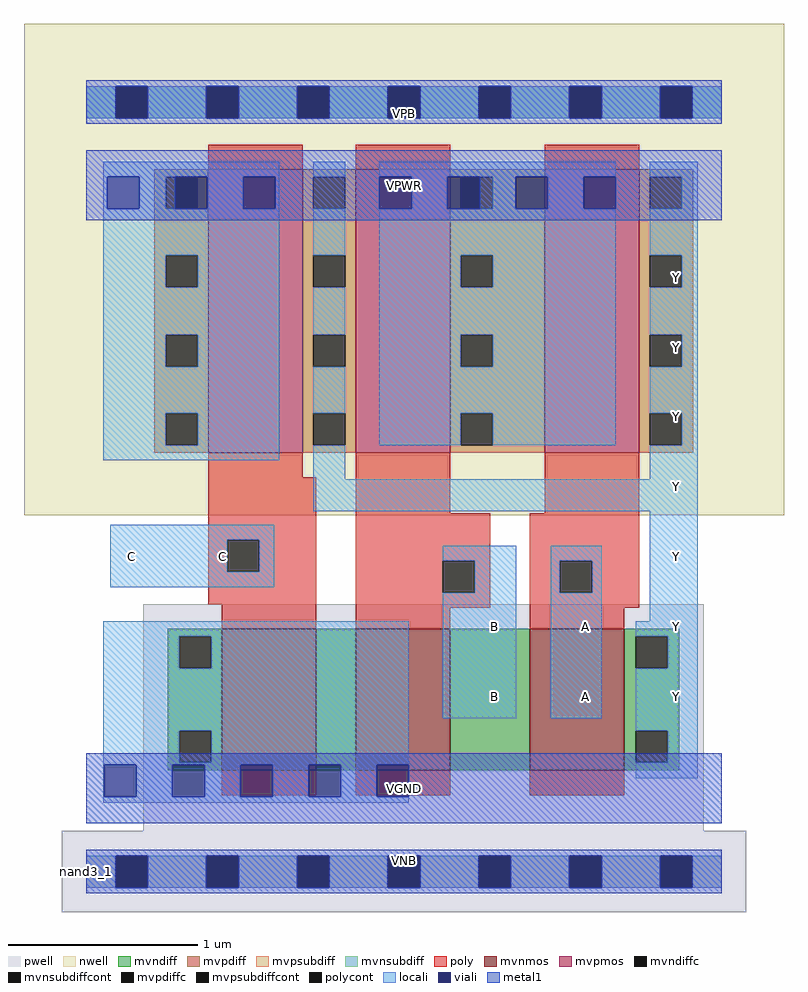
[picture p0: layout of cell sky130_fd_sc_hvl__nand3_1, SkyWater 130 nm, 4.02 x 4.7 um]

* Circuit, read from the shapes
.subckt sky130_fd_sc_hvl__nand3_1 A B C VGND VNB VPB VPWR Y
XM1 n1 C VGND VNB sky130_fd_pr__nfet_g5v0d10v5 w=0.75 l=0.5
XM2 n2 B n1 VNB sky130_fd_pr__nfet_g5v0d10v5 w=0.75 l=0.5
XM3 Y A n2 VNB sky130_fd_pr__nfet_g5v0d10v5 w=0.75 l=0.5
XM4 Y C VPWR VPB sky130_fd_pr__pfet_g5v0d10v5 w=1.5 l=0.5
XM5 VPWR B Y VPB sky130_fd_pr__pfet_g5v0d10v5 w=1.5 l=0.5
XM6 Y A VPWR VPB sky130_fd_pr__pfet_g5v0d10v5 w=1.5 l=0.5
.ends

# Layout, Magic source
magic
tech sky130A
magscale 1 2
<< nwell >>
rect -66 377 738 897
<< pwell >>
rect 60 43 653 283
rect -26 -43 698 43
<< mvnmos >>
rect 143 107 243 257
rect 285 107 385 257
rect 469 107 569 257
<< mvpmos >>
rect 129 443 229 743
rect 285 443 385 743
rect 485 443 585 743
<< mvndiff >>
rect 86 249 143 257
rect 86 215 98 249
rect 132 215 143 249
rect 86 149 143 215
rect 86 115 98 149
rect 132 115 143 149
rect 86 107 143 115
rect 243 107 285 257
rect 385 107 469 257
rect 569 249 627 257
rect 569 215 581 249
rect 615 215 627 249
rect 569 149 627 215
rect 569 115 581 149
rect 615 115 627 149
rect 569 107 627 115
<< mvpdiff >>
rect 72 735 129 743
rect 72 701 84 735
rect 118 701 129 735
rect 72 652 129 701
rect 72 618 84 652
rect 118 618 129 652
rect 72 568 129 618
rect 72 534 84 568
rect 118 534 129 568
rect 72 485 129 534
rect 72 451 84 485
rect 118 451 129 485
rect 72 443 129 451
rect 229 735 285 743
rect 229 701 240 735
rect 274 701 285 735
rect 229 652 285 701
rect 229 618 240 652
rect 274 618 285 652
rect 229 568 285 618
rect 229 534 240 568
rect 274 534 285 568
rect 229 485 285 534
rect 229 451 240 485
rect 274 451 285 485
rect 229 443 285 451
rect 385 735 485 743
rect 385 701 396 735
rect 430 701 485 735
rect 385 652 485 701
rect 385 618 396 652
rect 430 618 485 652
rect 385 568 485 618
rect 385 534 396 568
rect 430 534 485 568
rect 385 485 485 534
rect 385 451 396 485
rect 430 451 485 485
rect 385 443 485 451
rect 585 735 642 743
rect 585 701 596 735
rect 630 701 642 735
rect 585 652 642 701
rect 585 618 596 652
rect 630 618 642 652
rect 585 568 642 618
rect 585 534 596 568
rect 630 534 642 568
rect 585 485 642 534
rect 585 451 596 485
rect 630 451 642 485
rect 585 443 642 451
<< mvndiffc >>
rect 98 215 132 249
rect 98 115 132 149
rect 581 215 615 249
rect 581 115 615 149
<< mvpdiffc >>
rect 84 701 118 735
rect 84 618 118 652
rect 84 534 118 568
rect 84 451 118 485
rect 240 701 274 735
rect 240 618 274 652
rect 240 534 274 568
rect 240 451 274 485
rect 396 701 430 735
rect 396 618 430 652
rect 396 534 430 568
rect 396 451 430 485
rect 596 701 630 735
rect 596 618 630 652
rect 596 534 630 568
rect 596 451 630 485
<< mvpsubdiff >>
rect 0 -17 31 17
rect 65 -17 127 17
rect 161 -17 223 17
rect 257 -17 319 17
rect 353 -17 415 17
rect 449 -17 511 17
rect 545 -17 607 17
rect 641 -17 672 17
<< mvnsubdiff >>
rect 0 797 31 831
rect 65 797 127 831
rect 161 797 223 831
rect 257 797 319 831
rect 353 797 415 831
rect 449 797 511 831
rect 545 797 607 831
rect 641 797 672 831
<< mvpsubdiffcont >>
rect 31 -17 65 17
rect 127 -17 161 17
rect 223 -17 257 17
rect 319 -17 353 17
rect 415 -17 449 17
rect 511 -17 545 17
rect 607 -17 641 17
<< mvnsubdiffcont >>
rect 31 797 65 831
rect 127 797 161 831
rect 223 797 257 831
rect 319 797 353 831
rect 415 797 449 831
rect 511 797 545 831
rect 607 797 641 831
<< poly >>
rect 129 743 229 769
rect 285 743 385 769
rect 485 743 585 769
rect 129 417 229 443
rect 129 351 243 417
rect 129 317 149 351
rect 183 317 243 351
rect 129 283 243 317
rect 143 257 243 283
rect 285 379 385 443
rect 485 379 585 443
rect 285 329 427 379
rect 285 295 377 329
rect 411 295 427 329
rect 285 279 427 295
rect 469 329 585 379
rect 469 295 501 329
rect 535 295 585 329
rect 469 279 585 295
rect 285 257 385 279
rect 469 257 569 279
rect 143 81 243 107
rect 285 81 385 107
rect 469 81 569 107
<< polycont >>
rect 149 317 183 351
rect 377 295 411 329
rect 501 295 535 329
<< locali >>
rect 0 797 31 831
rect 65 797 127 831
rect 161 797 223 831
rect 257 797 319 831
rect 353 797 415 831
rect 449 797 511 831
rect 545 797 607 831
rect 641 797 672 831
rect 18 735 204 751
rect 18 701 22 735
rect 56 701 84 735
rect 128 701 166 735
rect 200 701 204 735
rect 18 652 204 701
rect 18 618 84 652
rect 118 618 204 652
rect 18 568 204 618
rect 18 534 84 568
rect 118 534 204 568
rect 18 485 204 534
rect 18 451 84 485
rect 118 451 204 485
rect 18 435 204 451
rect 240 735 274 751
rect 240 652 274 701
rect 240 568 274 618
rect 240 485 274 534
rect 310 735 560 751
rect 344 701 382 735
rect 430 701 454 735
rect 488 701 526 735
rect 310 652 560 701
rect 310 618 396 652
rect 430 618 560 652
rect 310 568 560 618
rect 310 534 396 568
rect 430 534 560 568
rect 310 485 560 534
rect 310 451 396 485
rect 430 451 560 485
rect 596 735 647 751
rect 630 701 647 735
rect 596 652 647 701
rect 630 618 647 652
rect 596 568 647 618
rect 630 534 647 568
rect 596 485 647 534
rect 630 451 647 485
rect 240 415 274 451
rect 596 415 647 451
rect 240 381 647 415
rect 25 351 199 367
rect 25 317 149 351
rect 183 317 199 351
rect 25 301 199 317
rect 377 329 455 345
rect 411 295 455 329
rect 18 249 341 265
rect 18 215 98 249
rect 132 215 341 249
rect 18 149 341 215
rect 377 162 455 295
rect 491 329 545 345
rect 491 295 501 329
rect 535 295 545 329
rect 491 162 545 295
rect 596 265 647 381
rect 581 249 647 265
rect 615 215 647 249
rect 18 115 98 149
rect 132 115 341 149
rect 18 113 341 115
rect 18 79 19 113
rect 53 79 91 113
rect 125 79 163 113
rect 197 79 235 113
rect 269 79 307 113
rect 581 149 647 215
rect 615 115 647 149
rect 581 99 647 115
rect 18 73 341 79
rect 0 -17 31 17
rect 65 -17 127 17
rect 161 -17 223 17
rect 257 -17 319 17
rect 353 -17 415 17
rect 449 -17 511 17
rect 545 -17 607 17
rect 641 -17 672 17
<< viali >>
rect 31 797 65 831
rect 127 797 161 831
rect 223 797 257 831
rect 319 797 353 831
rect 415 797 449 831
rect 511 797 545 831
rect 607 797 641 831
rect 22 701 56 735
rect 94 701 118 735
rect 118 701 128 735
rect 166 701 200 735
rect 310 701 344 735
rect 382 701 396 735
rect 396 701 416 735
rect 454 701 488 735
rect 526 701 560 735
rect 19 79 53 113
rect 91 79 125 113
rect 163 79 197 113
rect 235 79 269 113
rect 307 79 341 113
rect 31 -17 65 17
rect 127 -17 161 17
rect 223 -17 257 17
rect 319 -17 353 17
rect 415 -17 449 17
rect 511 -17 545 17
rect 607 -17 641 17
<< metal1 >>
rect 0 831 672 837
rect 0 797 31 831
rect 65 797 127 831
rect 161 797 223 831
rect 257 797 319 831
rect 353 797 415 831
rect 449 797 511 831
rect 545 797 607 831
rect 641 797 672 831
rect 0 791 672 797
rect 0 735 672 763
rect 0 701 22 735
rect 56 701 94 735
rect 128 701 166 735
rect 200 701 310 735
rect 344 701 382 735
rect 416 701 454 735
rect 488 701 526 735
rect 560 701 672 735
rect 0 689 672 701
rect 0 113 672 125
rect 0 79 19 113
rect 53 79 91 113
rect 125 79 163 113
rect 197 79 235 113
rect 269 79 307 113
rect 341 79 672 113
rect 0 51 672 79
rect 0 17 672 23
rect 0 -17 31 17
rect 65 -17 127 17
rect 161 -17 223 17
rect 257 -17 319 17
rect 353 -17 415 17
rect 449 -17 511 17
rect 545 -17 607 17
rect 641 -17 672 17
rect 0 -23 672 -17
<< labels >>
rlabel comment s 0 0 0 0 4 nand3_1
flabel metal1 s 0 51 672 125 0 FreeSans 340 0 0 0 VGND
port 4 nsew ground bidirectional
flabel metal1 s 0 0 672 23 0 FreeSans 340 0 0 0 VNB
port 5 nsew ground bidirectional
flabel metal1 s 0 689 672 763 0 FreeSans 340 0 0 0 VPWR
port 7 nsew power bidirectional
flabel metal1 s 0 791 672 814 0 FreeSans 340 0 0 0 VPB
port 6 nsew power bidirectional
flabel locali s 511 168 545 202 0 FreeSans 340 0 0 0 A
port 1 nsew signal input
flabel locali s 511 242 545 276 0 FreeSans 340 0 0 0 A
port 1 nsew signal input
flabel locali s 415 168 449 202 0 FreeSans 340 0 0 0 B
port 2 nsew signal input
flabel locali s 415 242 449 276 0 FreeSans 340 0 0 0 B
port 2 nsew signal input
flabel locali s 31 316 65 350 0 FreeSans 340 0 0 0 C
port 3 nsew signal input
flabel locali s 127 316 161 350 0 FreeSans 340 0 0 0 C
port 3 nsew signal input
flabel locali s 607 168 641 202 0 FreeSans 340 0 0 0 Y
port 8 nsew signal output
flabel locali s 607 242 641 276 0 FreeSans 340 0 0 0 Y
port 8 nsew signal output
flabel locali s 607 316 641 350 0 FreeSans 340 0 0 0 Y
port 8 nsew signal output
flabel locali s 607 390 641 424 0 FreeSans 340 0 0 0 Y
port 8 nsew signal output
flabel locali s 607 464 641 498 0 FreeSans 340 0 0 0 Y
port 8 nsew signal output
flabel locali s 607 538 641 572 0 FreeSans 340 0 0 0 Y
port 8 nsew signal output
flabel locali s 607 612 641 646 0 FreeSans 340 0 0 0 Y
port 8 nsew signal output
<< properties >>
string FIXED_BBOX 0 0 672 814
string GDS_END 204742
string GDS_FILE $PDKPATH/libs.ref/sky130_fd_sc_hvl/gds/sky130_fd_sc_hvl.gds
string GDS_START 195378
string LEFclass CORE
string LEFsite unithv
string LEFsymmetry X Y
<< end >>
